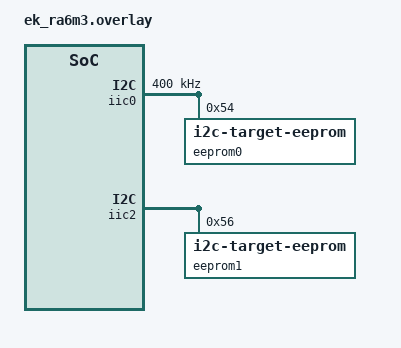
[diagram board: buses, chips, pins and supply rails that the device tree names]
/*
 * Copyright (c) 2025 Renesas Electronics Corporation
 *
 * SPDX-License-Identifier: Apache-2.0
 */

/* To test this sample, connect
 * SCL0 P408  -->  SCL2 P512
 * SDA0 P401  -->  SDA2 P511
 */

&pinctrl {
	iic0_default: iic0_default {
		group1 {
			/* SCL0 SDA0 */
			psels = <RA_PSEL(RA_PSEL_I2C, 4, 8)>,
				<RA_PSEL(RA_PSEL_I2C, 4, 1)>;
			drive-strength = "medium";
		};
	};
};

&iic0 {
	#address-cells = <1>;
	#size-cells = <0>;
	clock-frequency = <I2C_BITRATE_FAST>;
	pinctrl-0 = <&iic0_default>;
	pinctrl-names = "default";
	interrupts = <84 1>, <85 1>, <86 1>, <87 1>;
	interrupt-names = "rxi", "txi", "tei", "eri";
	status = "okay";

	eeprom0: eeprom@54 {
		compatible = "zephyr,i2c-target-eeprom";
		address-width = <8>;
		reg = <0x54>;
		size = <256>;
	};
};

&iic2 {
	status = "okay";

	eeprom1: eeprom@56 {
		compatible = "zephyr,i2c-target-eeprom";
		reg = <0x56>;
		size = <256>;
	};
};
